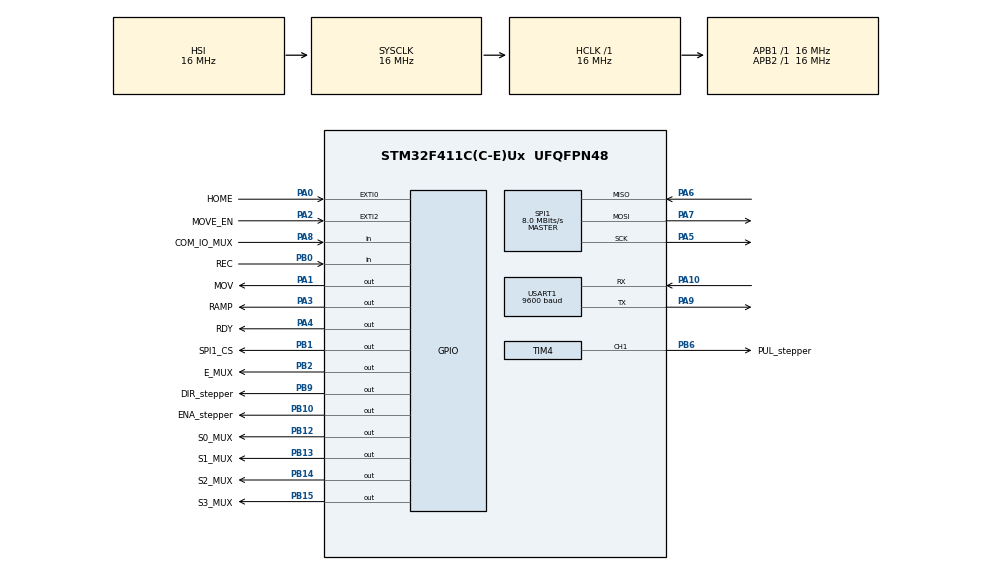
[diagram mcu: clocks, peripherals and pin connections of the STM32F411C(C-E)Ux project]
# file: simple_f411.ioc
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FREERTOS.INCLUDE_xEventGroupSetBitFromISR=1
FREERTOS.INCLUDE_xTimerPendFunctionCall=1
FREERTOS.Tasks01=ProgramingMode,0,500,programing_mode,Default,NULL,Dynamic,NULL,NULL;Interpreter,0,500,interpreter,Default,NULL,Dynamic,NULL,NULL;UART_comunication,0,160,uart_comunication,Default,NULL,Dynamic,NULL,NULL;ExecutionFromMemory,0,1000,execution_from_memory,Default,NULL,Dynamic,NULL,NULL
FREERTOS.configMAX_TASK_NAME_LEN=32
FREERTOS.configUSE_TIMERS=1
Mcu.Family=STM32F4
Mcu.Name=STM32F411C(C-E)Ux
Mcu.Package=UFQFPN48
NVIC.EXTI0_IRQn=true\:5\:0\:true\:false\:true\:true\:true\:true\:true
NVIC.PriorityGroup=NVIC_PRIORITYGROUP_4
NVIC.TIM2_IRQn=true\:1\:0\:true\:false\:true\:false\:false\:true\:true
NVIC.TIM3_IRQn=true\:5\:0\:true\:false\:true\:true\:true\:true\:true
NVIC.TIM4_IRQn=true\:5\:0\:false\:false\:true\:true\:true\:true\:true
NVIC.TimeBase=TIM2_IRQn
NVIC.TimeBaseIP=TIM2
NVIC.USART1_IRQn=true\:5\:0\:false\:false\:true\:true\:true\:true\:true
PA0-WKUP.GPIO_Label=HOME
PA0-WKUP.GPIO_PuPd=GPIO_PULLDOWN
PA0-WKUP.Signal=GPXTI0
PA1.GPIO_Label=MOV
PA1.GPIO_PuPd=GPIO_PULLDOWN
PA1.Signal=GPIO_Output
PA10.Mode=Asynchronous
PA10.Signal=USART1_RX
PA13.Mode=Serial_Wire
PA13.Signal=SYS_JTMS-SWDIO
PA14.Mode=Serial_Wire
PA14.Signal=SYS_JTCK-SWCLK
PA2.GPIO_Label=MOVE_EN
PA2.GPIO_PuPd=GPIO_PULLDOWN
PA2.Signal=GPXTI2
PA3.GPIO_Label=RAMP
PA3.Signal=GPIO_Output
PA4.GPIO_Label=RDY
PA4.Signal=GPIO_Output
PA5.Mode=Full_Duplex_Master
PA5.Signal=SPI1_SCK
PA6.Mode=Full_Duplex_Master
PA6.Signal=SPI1_MISO
PA7.Mode=Full_Duplex_Master
PA7.Signal=SPI1_MOSI
PA8.GPIO_Label=COM_IO_MUX
PA8.GPIO_PuPd=GPIO_PULLDOWN
PA8.Signal=GPIO_Input
PA9.Mode=Asynchronous
PA9.Signal=USART1_TX
PB0.GPIO_Label=REC
PB0.GPIO_PuPd=GPIO_PULLUP
PB0.Signal=GPIO_Input
PB1.GPIO_Label=SPI1_CS
PB1.GPIO_PuPd=GPIO_NOPULL
PB1.GPIO_Speed=GPIO_SPEED_FREQ_HIGH
PB1.Signal=GPIO_Output
PB10.GPIO_Label=ENA_stepper
PB10.Signal=GPIO_Output
PB12.GPIO_Label=S0_MUX
PB12.GPIO_PuPd=GPIO_PULLDOWN
PB12.Signal=GPIO_Output
PB13.GPIO_Label=S1_MUX
PB13.GPIO_PuPd=GPIO_PULLDOWN
PB13.Signal=GPIO_Output
PB14.GPIO_Label=S2_MUX
PB14.GPIO_PuPd=GPIO_PULLDOWN
PB14.Signal=GPIO_Output
PB15.GPIO_Label=S3_MUX
PB15.GPIO_PuPd=GPIO_PULLDOWN
PB15.Signal=GPIO_Output
PB2.GPIO_Label=E_MUX
PB2.GPIO_Speed=GPIO_SPEED_FREQ_MEDIUM
PB2.Signal=GPIO_Output
PB6.GPIO_Label=PUL_stepper
PB6.Signal=S_TIM4_CH1
PB9.GPIO_Label=DIR_stepper
PB9.GPIO_PuPd=GPIO_NOPULL
PB9.Signal=GPIO_Output
ProjectManager.HeapSize=0x200
ProjectManager.StackSize=0x400
ProjectManager.TargetToolchain=STM32CubeIDE
RCC.AHBFreq_Value=16000000
RCC.APB1Freq_Value=16000000
RCC.APB2Freq_Value=16000000
RCC.CortexFreq_Value=16000000
RCC.HSE_VALUE=25000000
RCC.HSI_VALUE=16000000
RCC.LSE_VALUE=32768
RCC.SYSCLKFreq_VALUE=16000000
RCC.VCOOutputFreq_Value=192000000
SH.S_TIM4_CH1.0=TIM4_CH1,PWM Generation1 CH1
SPI1.CalculateBaudRate=8.0 MBits/s
SPI1.Direction=SPI_DIRECTION_2LINES
SPI1.Mode=SPI_MODE_MASTER
SPI1.VirtualType=VM_MASTER
TIM3.AutoReloadPreload=TIM_AUTORELOAD_PRELOAD_ENABLE
TIM4.AutoReloadPreload=TIM_AUTORELOAD_PRELOAD_ENABLE
TIM4.Channel-PWM\ Generation1\ CH1=TIM_CHANNEL_1
TIM4.Period=10000
TIM4.Prescaler=15
TIM4.Pulse-PWM\ Generation1\ CH1=5000
TIM4.TIM_MasterOutputTrigger=TIM_TRGO_UPDATE
USART1.BaudRate=9600
USART1.Parity=PARITY_ODD
USART1.StopBits=STOPBITS_2
USART1.VirtualMode=VM_ASYNC
VP_FREERTOS_VS_CMSIS_V1.Mode=CMSIS_V1
VP_SYS_VS_tim2.Mode=TIM2
VP_TIM3_VS_ClockSourceITR.Mode=TriggerSource_ITR3
VP_TIM3_VS_ControllerModeClock.Mode=Clock Mode
VP_TIM4_VS_ClockSourceINT.Mode=Internal
board=custom

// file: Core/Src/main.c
/* USER CODE BEGIN Header */
/**
  ******************************************************************************
  * @file           : main.c
  * @brief          : Main program body
  ******************************************************************************
  * @attention
  *
  * Copyright (c) 2023 STMicroelectronics.
  * All rights reserved.
  *
  * This software is licensed under terms that can be found in the LICENSE file
  * in the root directory of this software component.
  * If no LICENSE file comes with this software, it is provided AS-IS.
  *
  ******************************************************************************
  */
/* USER CODE END Header */
#include "main.h"
#include "cmsis_os.h"

/* USER CODE BEGIN PD */
#define CK_CNT 1000000
/* USER CODE END PD */

SPI_HandleTypeDef hspi1;

TIM_HandleTypeDef htim3;
TIM_HandleTypeDef htim4;

UART_HandleTypeDef huart1;

osThreadId ProgramingModeHandle;
osThreadId InterpreterHandle;
osThreadId UART_comunicationHandle;
osThreadId ExecutionFromMemoryHandle;
/* USER CODE BEGIN PV */
QueueHandle_t uart_queue_rx;
QueueHandle_t programing_queue;
//QueueHandle_t instruction_S_value;

struct exm_type{
	char execution_memory[119]; //Program storage capability of GS-C200S
	char* memory_pointer;
	uint8_t sizes_of_instruction[60];
	uint8_t* sizes_pointer;
	char current_instruction[4];
	uint16_t start_speed_value;
	uint16_t top_speed_value;
	uint16_t ramp_value;
	uint16_t G_sign_value;
	uint16_t step_counter_second_part;
	int16_t position;  // 0 is home position
}exm;

EventGroupHandle_t EventGroup;
/* Event Group description
 *  0x80 Programming mode for GS-200S
 *	0x40 Execution mode
 *	0x10 Delay until...
 */
/* USER CODE END PV */

void SystemClock_Config(void);
static void MX_GPIO_Init(void);
static void MX_USART1_UART_Init(void);
static void MX_TIM3_Init(void);
static void MX_TIM4_Init(void);
static void MX_SPI1_Init(void);
void programing_mode(void const * argument);
void interpreter(void const * argument);
void uart_comunication(void const * argument);
void execution_from_memory(void const * argument);

/* USER CODE BEGIN PFP */
void uart1_rx_callback();
void enter_programing();
void exit_programing();
void write_to_exm(uint8_t* start_of_data, uint8_t size_of_data);
void read_from_exm();
void erase_exm();
void start_motor();
void speed_regulation();
void stop_motor();

/* USER CODE END PFP */

int main(void)
{
  /* USER CODE BEGIN 1 */

	for(int i = 0; i < sizeof(exm.execution_memory); i++){
		exm.execution_memory[i] = 0;
	}
	exm.memory_pointer = exm.execution_memory;
	for(int i = 0; i < sizeof(exm.sizes_of_instruction); i++){
		exm.sizes_of_instruction[i] = 1;
	}
	exm.sizes_pointer = exm.sizes_of_instruction;
	for(int i = 0; i < sizeof(exm.current_instruction); i++){
		exm.current_instruction[i] = 0;
	}
	exm.start_speed_value = 0;
	exm.top_speed_value = 0;
	exm.ramp_value = 0;
	exm.G_sign_value = 0;
	exm.step_counter_second_part = 0;

	exm.position = 0; // temporary
  /* USER CODE END 1 */

  /* MCU Configuration--------------------------------------------------------*/

  /* Reset of all peripherals, Initializes the Flash interface and the Systick. */
  HAL_Init();

  /* Configure the system clock */
  SystemClock_Config();

  /* Initialize all configured peripherals */
  MX_GPIO_Init();
  MX_USART1_UART_Init();
  MX_TIM3_Init();
  MX_TIM4_Init();
  MX_SPI1_Init();
  /* USER CODE BEGIN 2 */
  USART1->CR1 |= USART_CR1_RXNEIE;
  USART1->CR1 |= USART_CR1_TE;
  USART1->CR1 |= USART_CR1_RE;
  USART1->CR1 |= USART_CR1_UE; //USART enable

  GPIOB->ODR &= ~GPIO_ODR_OD10; //Enable stepper driver
  HAL_TIM_Base_Start_IT(&htim3);
  /* USER CODE END 2 */

  /* USER CODE BEGIN RTOS_SEMAPHORES */
  /* add semaphores, ... */
  EventGroup = xEventGroupCreate();
  xEventGroupSetBits(EventGroup, 0x40); // Start the Execution mode
  /* USER CODE END RTOS_SEMAPHORES */

  /* USER CODE BEGIN RTOS_QUEUES */
  /* add queues, ... */
  uart_queue_rx = xQueueCreate(32, 1);
  programing_queue = xQueueCreate(64, 1);
  /* USER CODE END RTOS_QUEUES */

  /* Create the thread(s) */
  /* definition and creation of ProgramingMode */
  osThreadDef(ProgramingMode, programing_mode, osPriorityNormal, 0, 500);
  ProgramingModeHandle = osThreadCreate(osThread(ProgramingMode), NULL);

  /* definition and creation of Interpreter */
  osThreadDef(Interpreter, interpreter, osPriorityNormal, 0, 500);
  InterpreterHandle = osThreadCreate(osThread(Interpreter), NULL);

  /* definition and creation of UART_comunication */
  osThreadDef(UART_comunication, uart_comunication, osPriorityNormal, 0, 160);
  UART_comunicationHandle = osThreadCreate(osThread(UART_comunication), NULL);

  /* definition and creation of ExecutionFromMemory */
  osThreadDef(ExecutionFromMemory, execution_from_memory, osPriorityNormal, 0, 1000);
  ExecutionFromMemoryHandle = osThreadCreate(osThread(ExecutionFromMemory), NULL);

  /* Start scheduler */
  osKernelStart();

  /* We should never get here as control is now taken by the scheduler */
  /* Infinite loop */
  while (1)
  {

  }
}

void SystemClock_Config(void)
{
  RCC_OscInitTypeDef RCC_OscInitStruct = {0};
  RCC_ClkInitTypeDef RCC_ClkInitStruct = {0};

  /** Configure the main internal regulator output voltage
  */
  __HAL_RCC_PWR_CLK_ENABLE();
  __HAL_PWR_VOLTAGESCALING_CONFIG(PWR_REGULATOR_VOLTAGE_SCALE1);

  /** Initializes the RCC Oscillators according to the specified parameters
  * in the RCC_OscInitTypeDef structure.
  */
  RCC_OscInitStruct.OscillatorType = RCC_OSCILLATORTYPE_HSI;
  RCC_OscInitStruct.HSIState = RCC_HSI_ON;
  RCC_OscInitStruct.HSICalibrationValue = RCC_HSICALIBRATION_DEFAULT;
  RCC_OscInitStruct.PLL.PLLState = RCC_PLL_NONE;
  if (HAL_RCC_OscConfig(&RCC_OscInitStruct) != HAL_OK)
  {
    Error_Handler();
  }

  /** Initializes the CPU, AHB and APB buses clocks
  */
  RCC_ClkInitStruct.ClockType = RCC_CLOCKTYPE_HCLK|RCC_CLOCKTYPE_SYSCLK
                              |RCC_CLOCKTYPE_PCLK1|RCC_CLOCKTYPE_PCLK2;
  RCC_ClkInitStruct.SYSCLKSource = RCC_SYSCLKSOURCE_HSI;
  RCC_ClkInitStruct.AHBCLKDivider = RCC_SYSCLK_DIV1;
  RCC_ClkInitStruct.APB1CLKDivider = RCC_HCLK_DIV1;
  RCC_ClkInitStruct.APB2CLKDivider = RCC_HCLK_DIV1;

  if (HAL_RCC_ClockConfig(&RCC_ClkInitStruct, FLASH_LATENCY_0) != HAL_OK)
  {
    Error_Handler();
  }
}

static void MX_SPI1_Init(void)
{

  /* SPI1 parameter configuration*/
  hspi1.Instance = SPI1;
  hspi1.Init.Mode = SPI_MODE_MASTER;
  hspi1.Init.Direction = SPI_DIRECTION_2LINES;
  hspi1.Init.DataSize = SPI_DATASIZE_8BIT;
  hspi1.Init.CLKPolarity = SPI_POLARITY_LOW;
  hspi1.Init.CLKPhase = SPI_PHASE_1EDGE;
  hspi1.Init.NSS = SPI_NSS_SOFT;
  hspi1.Init.BaudRatePrescaler = SPI_BAUDRATEPRESCALER_2;
  hspi1.Init.FirstBit = SPI_FIRSTBIT_MSB;
  hspi1.Init.TIMode = SPI_TIMODE_DISABLE;
  hspi1.Init.CRCCalculation = SPI_CRCCALCULATION_DISABLE;
  hspi1.Init.CRCPolynomial = 10;
  if (HAL_SPI_Init(&hspi1) != HAL_OK)
  {
    Error_Handler();
  }

}

static void MX_TIM3_Init(void)
{

  TIM_SlaveConfigTypeDef sSlaveConfig = {0};
  TIM_MasterConfigTypeDef sMasterConfig = {0};

  htim3.Instance = TIM3;
  htim3.Init.Prescaler = 0;
  htim3.Init.CounterMode = TIM_COUNTERMODE_UP;
  htim3.Init.Period = 65535;
  htim3.Init.ClockDivision = TIM_CLOCKDIVISION_DIV1;
  htim3.Init.AutoReloadPreload = TIM_AUTORELOAD_PRELOAD_ENABLE;
  if (HAL_TIM_Base_Init(&htim3) != HAL_OK)
  {
    Error_Handler();
  }
  sSlaveConfig.SlaveMode = TIM_SLAVEMODE_EXTERNAL1;
  sSlaveConfig.InputTrigger = TIM_TS_ITR3;
  if (HAL_TIM_SlaveConfigSynchro(&htim3, &sSlaveConfig) != HAL_OK)
  {
    Error_Handler();
  }
  sMasterConfig.MasterOutputTrigger = TIM_TRGO_RESET;
  sMasterConfig.MasterSlaveMode = TIM_MASTERSLAVEMODE_DISABLE;
  if (HAL_TIMEx_MasterConfigSynchronization(&htim3, &sMasterConfig) != HAL_OK)
  {
    Error_Handler();
  }

}

static void MX_TIM4_Init(void)
{

  TIM_ClockConfigTypeDef sClockSourceConfig = {0};
  TIM_MasterConfigTypeDef sMasterConfig = {0};
  TIM_OC_InitTypeDef sConfigOC = {0};

  htim4.Instance = TIM4;
  htim4.Init.Prescaler = 15;
  htim4.Init.CounterMode = TIM_COUNTERMODE_UP;
  htim4.Init.Period = 10000;
  htim4.Init.ClockDivision = TIM_CLOCKDIVISION_DIV1;
  htim4.Init.AutoReloadPreload = TIM_AUTORELOAD_PRELOAD_ENABLE;
  if (HAL_TIM_Base_Init(&htim4) != HAL_OK)
  {
    Error_Handler();
  }
  sClockSourceConfig.ClockSource = TIM_CLOCKSOURCE_INTERNAL;
  if (HAL_TIM_ConfigClockSource(&htim4, &sClockSourceConfig) != HAL_OK)
  {
    Error_Handler();
  }
  if (HAL_TIM_PWM_Init(&htim4) != HAL_OK)
  {
    Error_Handler();
  }
  sMasterConfig.MasterOutputTrigger = TIM_TRGO_UPDATE;
  sMasterConfig.MasterSlaveMode = TIM_MASTERSLAVEMODE_DISABLE;
  if (HAL_TIMEx_MasterConfigSynchronization(&htim4, &sMasterConfig) != HAL_OK)
  {
    Error_Handler();
  }
  sConfigOC.OCMode = TIM_OCMODE_PWM1;
  sConfigOC.Pulse = 5000;
  sConfigOC.OCPolarity = TIM_OCPOLARITY_HIGH;
  sConfigOC.OCFastMode = TIM_OCFAST_DISABLE;
  if (HAL_TIM_PWM_ConfigChannel(&htim4, &sConfigOC, TIM_CHANNEL_1) != HAL_OK)
  {
    Error_Handler();
  }
  HAL_TIM_MspPostInit(&htim4);

}

static void MX_USART1_UART_Init(void)
{

  huart1.Instance = USART1;
  huart1.Init.BaudRate = 9600;
  huart1.Init.WordLength = UART_WORDLENGTH_8B;
  huart1.Init.StopBits = UART_STOPBITS_2;
  huart1.Init.Parity = UART_PARITY_ODD;
  huart1.Init.Mode = UART_MODE_TX_RX;
  huart1.Init.HwFlowCtl = UART_HWCONTROL_NONE;
  huart1.Init.OverSampling = UART_OVERSAMPLING_16;
  if (HAL_UART_Init(&huart1) != HAL_OK)
  {
    Error_Handler();
  }

}

static void MX_GPIO_Init(void)
{
  GPIO_InitTypeDef GPIO_InitStruct = {0};

  /* GPIO Ports Clock Enable */
  __HAL_RCC_GPIOA_CLK_ENABLE();
  __HAL_RCC_GPIOB_CLK_ENABLE();

  /*Configure GPIO pin Output Level */
  HAL_GPIO_WritePin(GPIOA, MOV_Pin|RAMP_Pin|RDY_Pin, GPIO_PIN_RESET);

  /*Configure GPIO pin Output Level */
  HAL_GPIO_WritePin(GPIOB, SPI1_CS_Pin|E_MUX_Pin|ENA_stepper_Pin|S0_MUX_Pin
                          |S1_MUX_Pin|S2_MUX_Pin|S3_MUX_Pin|DIR_stepper_Pin, GPIO_PIN_RESET);

  /*Configure GPIO pins : HOME_Pin MOVE_EN_Pin */
  GPIO_InitStruct.Pin = HOME_Pin|MOVE_EN_Pin;
  GPIO_InitStruct.Mode = GPIO_MODE_IT_RISING;
  GPIO_InitStruct.Pull = GPIO_PULLDOWN;
  HAL_GPIO_Init(GPIOA, &GPIO_InitStruct);

  /*Configure GPIO pin : MOV_Pin */
  GPIO_InitStruct.Pin = MOV_Pin;
  GPIO_InitStruct.Mode = GPIO_MODE_OUTPUT_PP;
  GPIO_InitStruct.Pull = GPIO_PULLDOWN;
  GPIO_InitStruct.Speed = GPIO_SPEED_FREQ_LOW;
  HAL_GPIO_Init(MOV_GPIO_Port, &GPIO_InitStruct);

  /*Configure GPIO pins : RAMP_Pin RDY_Pin */
  GPIO_InitStruct.Pin = RAMP_Pin|RDY_Pin;
  GPIO_InitStruct.Mode = GPIO_MODE_OUTPUT_PP;
  GPIO_InitStruct.Pull = GPIO_NOPULL;
  GPIO_InitStruct.Speed = GPIO_SPEED_FREQ_LOW;
  HAL_GPIO_Init(GPIOA, &GPIO_InitStruct);

  /*Configure GPIO pin : REC_Pin */
  GPIO_InitStruct.Pin = REC_Pin;
  GPIO_InitStruct.Mode = GPIO_MODE_INPUT;
  GPIO_InitStruct.Pull = GPIO_PULLUP;
  HAL_GPIO_Init(REC_GPIO_Port, &GPIO_InitStruct);

  /*Configure GPIO pin : SPI1_CS_Pin */
  GPIO_InitStruct.Pin = SPI1_CS_Pin;
  GPIO_InitStruct.Mode = GPIO_MODE_OUTPUT_PP;
  GPIO_InitStruct.Pull = GPIO_NOPULL;
  GPIO_InitStruct.Speed = GPIO_SPEED_FREQ_HIGH;
  HAL_GPIO_Init(SPI1_CS_GPIO_Port, &GPIO_InitStruct);

  /*Configure GPIO pin : E_MUX_Pin */
  GPIO_InitStruct.Pin = E_MUX_Pin;
  GPIO_InitStruct.Mode = GPIO_MODE_OUTPUT_PP;
  GPIO_InitStruct.Pull = GPIO_NOPULL;
  GPIO_InitStruct.Speed = GPIO_SPEED_FREQ_MEDIUM;
  HAL_GPIO_Init(E_MUX_GPIO_Port, &GPIO_InitStruct);

  /*Configure GPIO pins : ENA_stepper_Pin DIR_stepper_Pin */
  GPIO_InitStruct.Pin = ENA_stepper_Pin|DIR_stepper_Pin;
  GPIO_InitStruct.Mode = GPIO_MODE_OUTPUT_PP;
  GPIO_InitStruct.Pull = GPIO_NOPULL;
  GPIO_InitStruct.Speed = GPIO_SPEED_FREQ_LOW;
  HAL_GPIO_Init(GPIOB, &GPIO_InitStruct);

  /*Configure GPIO pins : S0_MUX_Pin S1_MUX_Pin S2_MUX_Pin S3_MUX_Pin */
  GPIO_InitStruct.Pin = S0_MUX_Pin|S1_MUX_Pin|S2_MUX_Pin|S3_MUX_Pin;
  GPIO_InitStruct.Mode = GPIO_MODE_OUTPUT_PP;
  GPIO_InitStruct.Pull = GPIO_PULLDOWN;
  GPIO_InitStruct.Speed = GPIO_SPEED_FREQ_LOW;
  HAL_GPIO_Init(GPIOB, &GPIO_InitStruct);

  /*Configure GPIO pin : COM_IO_MUX_Pin */
  GPIO_InitStruct.Pin = COM_IO_MUX_Pin;
  GPIO_InitStruct.Mode = GPIO_MODE_INPUT;
  GPIO_InitStruct.Pull = GPIO_PULLDOWN;
  HAL_GPIO_Init(COM_IO_MUX_GPIO_Port, &GPIO_InitStruct);

  /* EXTI interrupt init*/
  HAL_NVIC_SetPriority(EXTI0_IRQn, 5, 0);
  HAL_NVIC_EnableIRQ(EXTI0_IRQn);

}

/* USER CODE BEGIN 4 */
void uart1_rx_callback(void)
{
	xQueueSendToBackFromISR(uart_queue_rx, (void*)&(USART1->DR), pdTRUE);
	__asm__ volatile("NOP");

}

void HAL_GPIO_EXTI_Callback(uint16_t GPIO_Pin)
{
	if(GPIO_Pin == GPIO_PIN_0) // HOME position
	{
		HAL_UART_Transmit(&huart1, "HOME", 5, 100);
		exm.position = 0;
	}
}

void enter_programing()
{
//	xEventGroupClearBits(EventGroup, 0x40);
	xEventGroupClearBits(EventGroup, 0xFFFFFF);
	exm.memory_pointer = exm.execution_memory;
	exm.sizes_pointer = exm.sizes_of_instruction;
	erase_exm();
	xEventGroupSetBits(EventGroup, 0x80);
}

void exit_programing()
{
//	xEventGroupClearBits(EventGroup, 0x80);
	xEventGroupClearBits(EventGroup, 0xFFFFFF);
	exm.memory_pointer = exm.execution_memory;
	exm.sizes_pointer = exm.sizes_of_instruction;

	exm.start_speed_value = 0;
	exm.top_speed_value = 0;
	exm.ramp_value = 0;
	exm.G_sign_value = 0;

	xEventGroupSetBits(EventGroup, 0x40);
}

void write_to_exm(uint8_t* start_of_data, uint8_t size_of_data)
{
	for(int i = 0; i < size_of_data; i++){
//		exm.execution_memory[exm.memory_pointer] = start_of_data[i];
		*exm.memory_pointer = start_of_data[i];
		exm.memory_pointer++;
		if(exm.memory_pointer >= (exm.execution_memory + 119)){
			exm.memory_pointer = exm.execution_memory + 118;
			return;
		}
	}
//	exm.sizes_of_instruction[exm.sizes_pointer] = size_of_data;
	*exm.sizes_pointer = size_of_data;
	exm.sizes_pointer++;
	if(exm.sizes_pointer >= (exm.sizes_of_instruction + 60)){
		exm.sizes_pointer = exm.sizes_of_instruction + 59;
		return;
	}
}

void read_from_exm()
{
	for(int i = 0; i < 4; i++){
		exm.current_instruction[i] = 0;
	}
	for(int i = 0; i < *exm.sizes_pointer; i++){
		exm.current_instruction[i] = *exm.memory_pointer;
		exm.memory_pointer++;
		if(exm.memory_pointer >= (exm.execution_memory + 119)){
			exm.memory_pointer = exm.execution_memory + 118;
			return ;
		}
	}
	exm.sizes_pointer++;
	if(exm.sizes_pointer >= (exm.sizes_of_instruction + 60)){
		exm.sizes_pointer = exm.sizes_of_instruction + 59;
		return ;
	}
	return ;
}

void erase_exm()
{
	for(int i = 0; i < sizeof(exm.execution_memory); i++){
		exm.execution_memory[i] = 0;
	}
	for(int i = 0; i < sizeof(exm.sizes_of_instruction); i++){
		exm.sizes_of_instruction[i] = 1;
	}
}

void start_motor()
{
	if(exm.start_speed_value == 0) return;
	HAL_TIM_Base_Start_IT(&htim4);
	uint16_t temp = (uint16_t)(CK_CNT / exm.start_speed_value);
	TIM4->ARR = temp;
	TIM4->CCR1 = temp/2;
	HAL_TIM_PWM_Start(&htim4, TIM_CHANNEL_1);
}

void speed_regulation()
{

}

void stop_motor()
{

}

/* USER CODE END 4 */

void programing_mode(void const * argument)
{
  /* USER CODE BEGIN 5 */
  /* Infinite loop */
  for(;;)
  {
	  xEventGroupWaitBits(EventGroup, 0x80, pdFALSE, pdTRUE, portMAX_DELAY);
	  HAL_UART_Transmit(&huart1, "Programming mode", 17, 100);
	  //vTaskDelay(200);
	  char instruction_for_programing = 0;
	  xQueueReceive(programing_queue, &instruction_for_programing, portMAX_DELAY);
	  switch (instruction_for_programing) {
		case 'S':
			uint8_t data1[4] = {'S', (uint8_t)(exm.start_speed_value), (uint8_t)((exm.start_speed_value>>8)), 0};
			write_to_exm(data1, sizeof(data1));
			break;
		case 'T':
			uint8_t data2[4] = {'T', (uint8_t)(exm.top_speed_value), (uint8_t)((exm.top_speed_value>>8)), 0};
			write_to_exm(data2, sizeof(data2));
			break;
		case 'R':
			uint8_t data3[4] = {'R', (uint8_t)(exm.ramp_value), (uint8_t)((exm.ramp_value>>8)), 0};
			write_to_exm(data3, sizeof(data3));
			break;
		case 'G':
			instruction_for_programing = 0;
			  xQueueReceive(programing_queue, &instruction_for_programing, 5);
			  switch (instruction_for_programing) {
			  	  case '+':
						uint8_t data4[4] = {('G'+'+'), (uint8_t)(exm.G_sign_value), (uint8_t)((exm.G_sign_value>>8)), (uint8_t)((exm.G_sign_value>>16))};
						write_to_exm(data4, sizeof(data4));
			  		  break;
			  	  case '-':
						uint8_t data5[4] = {('G'+'-'), (uint8_t)(exm.G_sign_value), (uint8_t)((exm.G_sign_value>>8)), (uint8_t)((exm.G_sign_value>>16))};
						write_to_exm(data5, sizeof(data5));
			  		  break;
			  }
			break;
		default:
			break;
	}
  }
  /* USER CODE END 5 */
}

void interpreter(void const * argument)
{
  /* USER CODE BEGIN interpreter */
	char pData;
  /* Infinite loop */
  for(;;)
  {
	  xQueueReceive(uart_queue_rx, &pData, portMAX_DELAY);
	  HAL_UART_Transmit(&huart1, &pData, 1, 10);
	  if ((pData & (1<<7)) == 0x80){  //Check odd parity
		  pData &= ~(1<<7);
	  }
	  __asm__ volatile("NOP");
	  char temp = 0;
	  switch (pData) {
		case 'P':
			xQueueReceive(uart_queue_rx, &pData, 5);
			HAL_UART_Transmit(&huart1, &pData, 1, 10);
				  if ((pData & (1<<7)) == 0x80){ //Check odd parity
					  pData &= ~(1<<7);
				  }
			__asm__ volatile("NOP");
			switch (pData) {
				case 'o':
					enter_programing();
					break;
				case 'x':
					exit_programing();
					break;
				default:
					break;
			}
			break;
	    case 'E':
	    	exit_programing();
	    	break;
		case 'S':
			if((xEventGroupGetBits(EventGroup) & (1<<7)) != 0x80) break; // if  Programming mode is OFF
			exm.start_speed_value = 0;
			temp = 0;
			for(int i = 0; i < 5; i++){
				xQueueReceive(uart_queue_rx, &temp, 5);
				if((temp == 13) || (temp == 0) || (i == 4)) break;
				if ((temp & (1<<7)) == 0x80){ //Check odd parity
					temp &= ~(1<<7);
			    }
				exm.start_speed_value = (exm.start_speed_value*10) + (temp - 48);
			}
			xQueueSendToBack(programing_queue, (void*)"S", 100);
			__asm__ volatile("NOP");
			break;
		case 'T':
			if((xEventGroupGetBits(EventGroup) & (1<<7)) != 0x80) break; // if  Programming mode is OFF
			exm.top_speed_value = 0;
			temp = 0;
			for(int i = 0; i < 4; i++){
				xQueueReceive(uart_queue_rx, &temp, 5);
				if((temp == 13) || (temp == 0) || (i == 3)) break;
				if(i == 3) break;
				if ((temp & (1<<7)) == 0x80){ //Check odd parity
					temp &= ~(1<<7);
			    }
				exm.top_speed_value = (exm.top_speed_value*10) + (temp - 48);
			}
			xQueueSendToBack(programing_queue, (void*)"T", 100);
			__asm__ volatile("NOP");
			break;
		case 'R':
			if((xEventGroupGetBits(EventGroup) & (1<<7)) != 0x80) break; // if  Programming mode is OFF
			exm.ramp_value = 0;
			temp = 0;
			for(int i = 0; i < 4; i++){
				xQueueReceive(uart_queue_rx, &temp, 5);
				if((temp == 13) || (temp == 0) || (i == 3)) break;
				if(i == 3) break;
				if ((temp & (1<<7)) == 0x80){ //Check odd parity
					temp &= ~(1<<7);
			    }
				exm.ramp_value = (exm.ramp_value*10) + (temp - 48);
			}
			xQueueSendToBack(programing_queue, (void*)"R", 100);
			__asm__ volatile("NOP");
			break;
		case 'G':
			if((xEventGroupGetBits(EventGroup) & (1<<7)) != 0x80) break; // if  Programming mode is OFF
			xQueueReceive(uart_queue_rx, &pData, 5);
			  if ((pData & (1<<7)) == 0x80){ //Check odd parity
				  pData &= ~(1<<7);
			  }
			__asm__ volatile("NOP");
			switch (pData) {
				case '+':
					exm.G_sign_value = 0;
					temp = 0;
					for(int i = 0; i < 8; i++){
						xQueueReceive(uart_queue_rx, &temp, 5);
						if((temp == 13) || (temp == 0) || (i == 7)) break;
						if ((temp & (1<<7)) == 0x80){ //Check odd parity
							temp &= ~(1<<7);
					    }
						exm.G_sign_value = (exm.G_sign_value*10) + (temp - 48);
					}
					xQueueSendToBack(programing_queue, (void*)"G", 100);
					xQueueSendToBack(programing_queue, (void*)"+", 100);
					__asm__ volatile("NOP");
					break;
				case '-':
					exm.G_sign_value = 0;
					temp = 0;
					for(int i = 0; i < 8; i++){
						xQueueReceive(uart_queue_rx, &temp, 5);
						if((temp == 13) || (temp == 0) || (i == 7)) break;
						if ((temp & (1<<7)) == 0x80){ //Check odd parity
							temp &= ~(1<<7);
					    }
						exm.G_sign_value = (exm.G_sign_value*10) + (temp - 48);
					}
					xQueueSendToBack(programing_queue, (void*)"G", 100);
					xQueueSendToBack(programing_queue, (void*)"-", 100);
					__asm__ volatile("NOP");
					break;
				default:
					break;
			}
			break;
	    case 0:
			break;
		default:
			break;
	}

	  pData = 0;
  }
  /* USER CODE END interpreter */
}

void uart_comunication(void const * argument)
{
  /* USER CODE BEGIN uart_comunication */
//	GPIOB->ODR |= GPIO_ODR_OD9; //counterclockwise
//	HAL_TIM_PWM_Start(&htim4, TIM_CHANNEL_1);
  /* Infinite loop */
  for(;;)
  {
	  EventBits_t res = xEventGroupGetBits(EventGroup); // EventBits_t is uint32_t
//	  HAL_UART_Transmit(&huart1, &res, 4, 100);
	  vTaskDelay(1500);

  }
  /* USER CODE END uart_comunication */
}

void execution_from_memory(void const * argument)
{
  /* USER CODE BEGIN execution_from_memory */
  /* Infinite loop */
  for(;;)
  {
	  xEventGroupWaitBits(EventGroup, 0x40, pdFALSE, pdTRUE, portMAX_DELAY);
	  HAL_UART_Transmit(&huart1, "Execution mode", 15, 100);
	  read_from_exm();
	  HAL_UART_Transmit(&huart1, exm.current_instruction, sizeof(exm.current_instruction), 100);
	  switch (exm.current_instruction[0]) {
		case 'S':
			exm.start_speed_value = 0;
			exm.start_speed_value = exm.current_instruction[1] + (exm.current_instruction[2]<<8);
			break;
		case 'T':
			exm.top_speed_value = 0;
			exm.top_speed_value = exm.current_instruction[1] + (exm.current_instruction[2]<<8);
			break;
		case 'R':
			exm.ramp_value = 0;
			exm.ramp_value = exm.current_instruction[1] + (exm.current_instruction[2]<<8);
			break;
		case ('G'+'+'):
			exm.G_sign_value = 0;
			exm.G_sign_value = exm.current_instruction[1] + (exm.current_instruction[2]<<8) + (exm.current_instruction[2]<<16);
			if(exm.position == exm.G_sign_value) break;
			else if(exm.position > exm.G_sign_value){
				GPIOB->ODR |= GPIO_ODR_OD9; //counterclockwise
			}else{
				GPIOB->ODR &= ~GPIO_ODR_OD9; //clockwise
			}
			if(exm.start_speed_value == 0) break;
			start_motor();
			xEventGroupWaitBits(EventGroup, 0x50, pdFALSE, pdTRUE, portMAX_DELAY);
			xEventGroupClearBits(EventGroup, 0x10);
			break;
		case ('G'+'-'):
			exm.G_sign_value = 0;
			exm.G_sign_value = exm.current_instruction[1] + (exm.current_instruction[2]<<8) + (exm.current_instruction[2]<<16);
			if(exm.position == (0-exm.G_sign_value)) break;
			else if(exm.position > (0-exm.G_sign_value)){
				GPIOB->ODR |= GPIO_ODR_OD9; //counterclockwise
			}else{
				GPIOB->ODR &= ~GPIO_ODR_OD9; //clockwise
			}
//			  HAL_TIM_Base_Start_IT(&htim4);
//			HAL_TIM_PWM_Start(&htim4, TIM_CHANNEL_1);
			if(exm.start_speed_value == 0) break;
			start_motor();
			xEventGroupWaitBits(EventGroup, 0x50, pdFALSE, pdTRUE, portMAX_DELAY);
			xEventGroupClearBits(EventGroup, 0x10);
			break;
		default:
			break;
	}
	  vTaskDelay(200);
  }
  /* USER CODE END execution_from_memory */
}

void HAL_TIM_PeriodElapsedCallback(TIM_HandleTypeDef *htim)
{
  /* USER CODE BEGIN Callback 0 */
	if (htim->Instance == TIM3) {
		exm.step_counter_second_part++;
	}

	if (htim->Instance == TIM4) {
		if((xEventGroupGetBitsFromISR(EventGroup) & (1<<7)) != 0x80) { // if  Programming mode is OFF
			switch ((GPIOB->ODR & (GPIO_ODR_OD9))) {
				case (1<<9): //counterclockwise
					exm.position--;
				if(exm.position == 0-((int16_t)exm.G_sign_value)){
				  HAL_TIM_Base_Stop_IT(&htim4);
				HAL_TIM_PWM_Stop(&htim4, TIM_CHANNEL_1);
				xEventGroupSetBitsFromISR(EventGroup, 0x10, pdTRUE);
				}
					break;
				case (0<<9): //clockwise
					exm.position++;
					if(exm.position == exm.G_sign_value){
					  HAL_TIM_Base_Stop_IT(&htim4);
					HAL_TIM_PWM_Stop(&htim4, TIM_CHANNEL_1);
					xEventGroupSetBitsFromISR(EventGroup, 0x10, pdTRUE);
					}
					break;
				default:
					break;
			}
		}
	}
  /* USER CODE END Callback 0 */
  if (htim->Instance == TIM2) {
    HAL_IncTick();
  }
}

void Error_Handler(void)
{
  __disable_irq();
  while (1)
  {
  }
}
